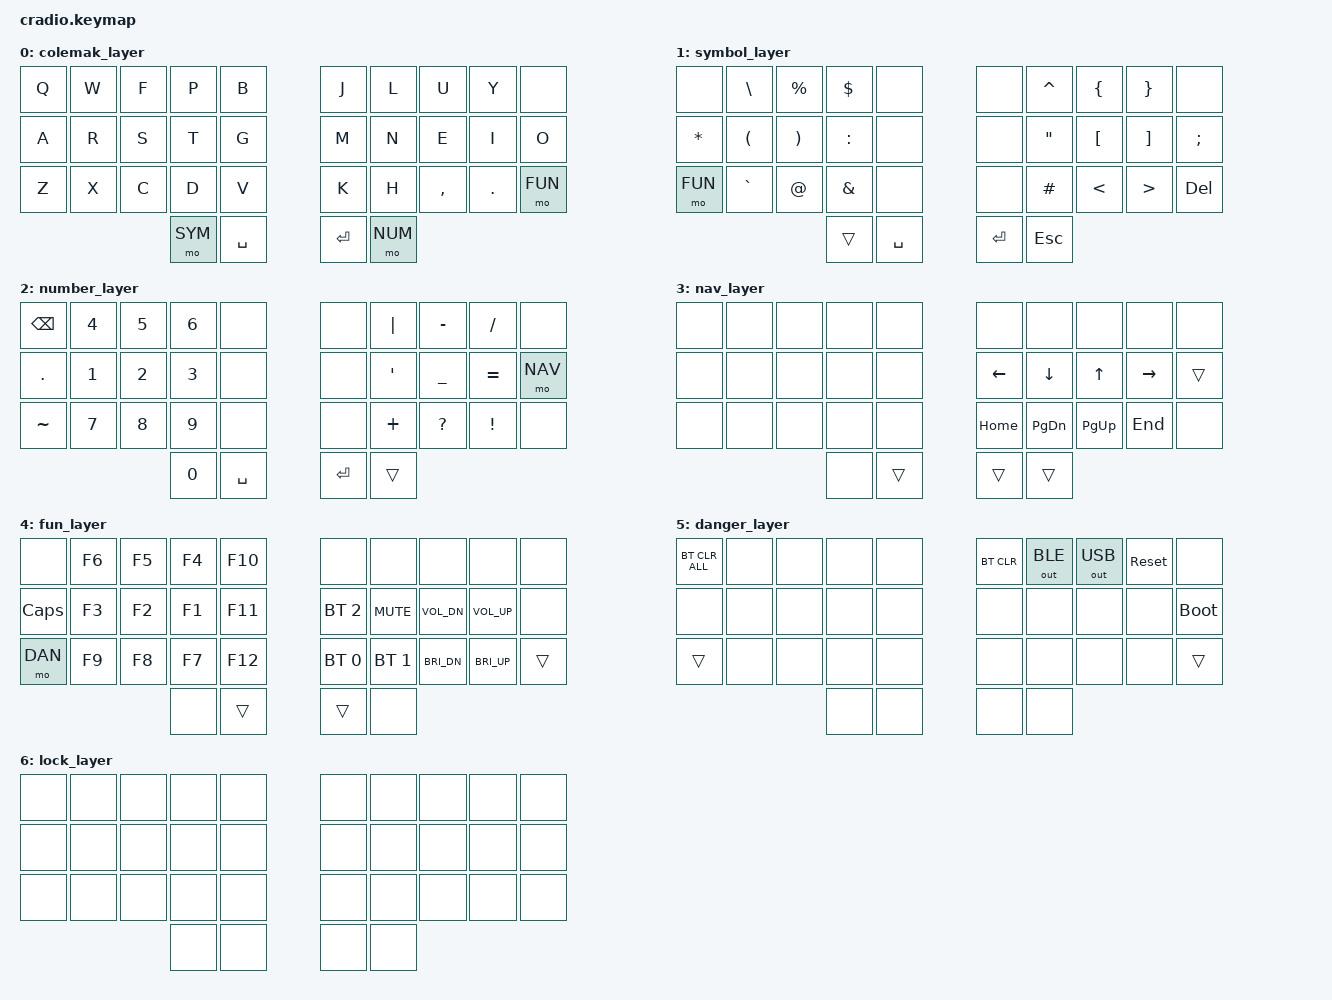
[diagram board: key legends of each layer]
/*
 * Copyright (c) 2020 The ZMK Contributors
 *
 * SPDX-License-Identifier: MIT
 */

#include <behaviors.dtsi>
#include <dt-bindings/zmk/bt.h>
#include <dt-bindings/zmk/keys.h>
#include <dt-bindings/zmk/outputs.h>

#define CMK 0
#define SYM 1
#define NUM 2
#define NAV 3
#define FUN 4
#define DAN 5
#define LCK 6

&caps_word { continue-list = <UNDERSCORE MINUS BACKSPACE>; };

/ {
    combos {
        #include "combos.dtsi"
    };

    behaviors {
        skq: sticky_key_quick_release {
            compatible = "zmk,behavior-sticky-key";
            label = "STICKY_KEY_QUICK_RELEASE";
            #binding-cells = <1>;
            bindings = <&kp>;
            release-after-ms = <1000>;
            quick-release;
        };
    };
};

/*           34 Keys
╭──────────────╮ ╭──────────────╮
│ 0  1  2  3  4│ │ 5  6  7  8  9│
│10 11 12 13 14│ │15 16 17 18 19│
│20 21 22 23 24│ │25 26 27 28 29│
╰────────╮30 31│ │32 33╭────────╯
         ╰─────╯ ╰─────╯         */

/ {
    combos {
        compatible = "zmk,combos";

        backspace {
            bindings = <&kp BACKSPACE>;
            key-positions = <7 8>;
            layers = <0 1 2 3 4 5>;
        };

        right_ctr {
            bindings = <&kp RCTRL>;
            key-positions = <27 28>;
            layers = <0>;
        };

        mayus_lock {
            bindings = <&caps_word>;
            key-positions = <15 14>;
            layers = <0>;
        };

        left_alt {
            bindings = <&kp LEFT_ALT>;
            key-positions = <21 22>;
            layers = <0>;
        };

        tab {
            bindings = <&kp TAB>;
            key-positions = <2 1>;
            layers = <0>;
        };

        esc {
            bindings = <&kp ESC>;
            key-positions = <33 30>;
            layers = <0>;
        };
    };

    keymap {
        compatible = "zmk,keymap";

        colemak_layer {
            // -----------------------------------------------------------------
            // |  Q  |  W  |  F  |  P  |  B  | |  J  |  L  |  U  |  Y  |     |
            // |  A  |  R  |  S  |  T  |  G  | |  M  |  N  |  E  |  I  |  O  |
            // |  Z  |  X  |  C  |  D  |  V  | |  K  |  H  |  ,  |  .  |-FUN-|
            //                   |-SYM-| SPC | | RET |-NUM-|

            bindings = <
&kp Q  &kp W  &kp F  &kp P    &kp B        &kp J    &kp L    &kp U      &kp Y    &none
&kp A  &kp R  &kp S  &kp T    &kp G        &kp M    &kp N    &kp E      &kp I    &kp O
&kp Z  &kp X  &kp C  &kp D    &kp V        &kp K    &kp H    &kp COMMA  &kp DOT  &mo FUN
                     &mo SYM  &kp SPACE    &kp RET  &mo NUM
            >;
        };

        symbol_layer {
            // -----------------------------------------------------------------
            // |     |  \  |  %  |  $  |     | |     |  ^  |  {  |  }  |     |
            // |  *  |  (  |  )  |  :  |     | |     |  "  |  [  |  ]  |  ;  |
            // |     |  `  |  @  |  &  |     | |     |  #  |  <  |  >  |-FUN-|
            //                   |_SYM_| SPC | | RET | ESC |

            bindings = <
&none     &kp BSLH   &kp PRCNT  &kp DLLR   &none        &none    &kp CARET  &kp LBRC  &kp RBRC  &none
&kp STAR  &kp LPAR   &kp RPAR   &kp COLON  &none        &none    &kp DQT    &kp LBKT  &kp RBKT  &kp SEMI
&mo FUN   &kp GRAVE  &kp AT     &kp AMPS   &none        &none    &kp HASH   &kp LT    &kp GT    &kp DEL
                                &trans     &kp SPACE    &kp RET  &kp ESC
            >;
        };

        number_layer {
            // -----------------------------------------------------------------
            // |     |  4  |  5  |  6  |     | |     |  |  |  -  |  /  |     |
            // |  .  |  1  |  2  |  3  |     | |     |  '  |  _  |  =  |-NAV-|
            // |  ~  |  7  |  8  |  9  |     | |     |  +  |  ?  |  !  |     |
            //                   |  0  | SPC | | RET |_NUM_|

            bindings = <
&kp BSPC   &kp N4  &kp N5  &kp N6  &none        &none    &kp PIPE  &kp MINUS  &kp FSLH   &none
&kp DOT    &kp N1  &kp N2  &kp N3  &none        &none    &kp SQT   &kp UNDER  &kp EQUAL  &mo NAV
&kp TILDE  &kp N7  &kp N8  &kp N9  &none        &none    &kp PLUS  &kp QMARK  &kp EXCL   &none
                           &kp N0  &kp SPACE    &kp RET  &trans
            >;
        };

        nav_layer {
            // -----------------------------------------------------------------
            // |     |     |     |     |     | |     |     |     |     |     |
            // |     |     |     |     |     | | LFT | DWN | U P |RIGHT|_NAV_|
            // |     |     |     |     |     | | HOM |PG_DN|PG_UP| END |     |
            //                   |     | SPC | | RET |_NUM_|

            bindings = <
&none  &none  &none  &none  &none     &none     &none      &none      &none      &none
&none  &none  &none  &none  &none     &kp LEFT  &kp DOWN   &kp UP     &kp RIGHT  &trans
&none  &none  &none  &none  &none     &kp HOME  &kp PG_DN  &kp PG_UP  &kp END    &none
                     &none  &trans    &trans    &trans
            >;
        };

        fun_layer {
            // -----------------------------------------------------------------
            // |     | F 6 | F 5 | F 4 | F10 | | <!> | <!> | <!> | <!> |     |
            // |CAPSL| F 3 | F 2 | F 1 | F11 | | BT2 |VMUTE|VOLDN|VOLUP| <!> |
            // |-!!!-| F 9 | F 8 | F 7 | F12 | | BT0 | BT1 |BRIDN|BRIUP|_FUN_|
            //                   |     | SPC | | RET |     |

            bindings = <
&none     &kp F6  &kp F5  &kp F4  &kp F10    &none         &none         &none         &none         &none
&kp CAPS  &kp F3  &kp F2  &kp F1  &kp F11    &bt BT_SEL 2  &kp K_MUTE    &kp C_VOL_DN  &kp C_VOL_UP  &none
&mo DAN   &kp F9  &kp F8  &kp F7  &kp F12    &bt BT_SEL 0  &bt BT_SEL 1  &kp C_BRI_DN  &kp C_BRI_UP  &trans
                          &none   &trans     &trans        &none
            >;
        };

        danger_layer {
            // -----------------------------------------------------------------
            // |     |     |     |     |     | |BTCLR| BLE | USB |RESET|     |
            // |     |     |     |     |     | |     |     |     |     |BOOTL|
            // |_!!!_|     |     |     |     | |     |     |     |     |_FUN_|
            //                   |     |     | |     |     |
            // impactful buttons
            // Bluetooth clear, reset, chaning BLE/USB preference, bootloader

            bindings = <
&bt BT_CLR_ALL  &none  &none  &none  &none    &bt BT_CLR  &out OUT_BLE  &out OUT_USB  &sys_reset  &none
&none           &none  &none  &none  &none    &none       &none         &none         &none       &bootloader
&trans          &none  &none  &none  &none    &none       &none         &none         &none       &trans
                              &none  &none    &none       &none
            >;
        };

        lock_layer {
            // only way out is the lock combo
            // other combos are disabled too

            bindings = <
&none  &none  &none  &none  &none    &none  &none  &none  &none  &none
&none  &none  &none  &none  &none    &none  &none  &none  &none  &none
&none  &none  &none  &none  &none    &none  &none  &none  &none  &none
                     &none  &none    &none  &none
            >;
        };
    };
};
